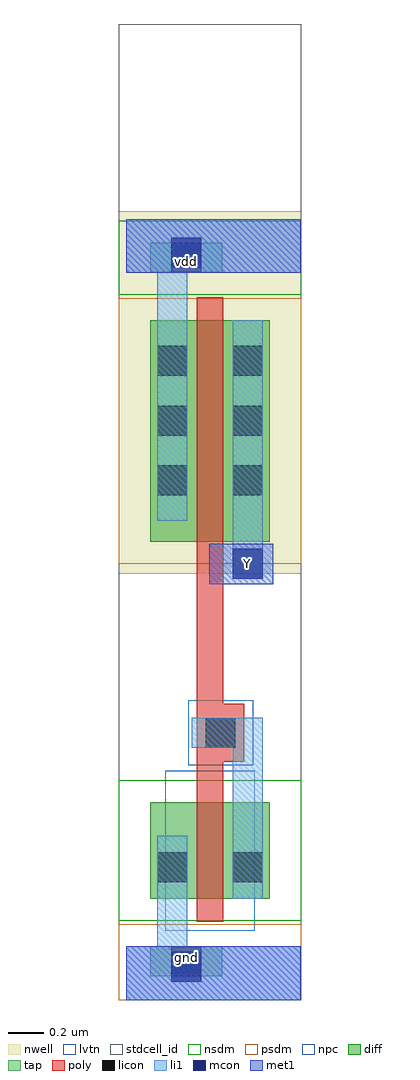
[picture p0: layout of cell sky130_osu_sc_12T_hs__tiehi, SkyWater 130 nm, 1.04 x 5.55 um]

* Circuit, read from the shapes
.subckt sky130_osu_sc_12T_hs__tiehi Y gnd vdd
XM1 n1 n1 gnd gnd sky130_fd_pr__nfet_01v8_lvt w=0.55 l=0.15
XM2 Y n1 vdd vdd sky130_fd_pr__pfet_01v8 w=1.26 l=0.15
.ends

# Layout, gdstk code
import gdstk
lib = gdstk.Library(unit=1e-6, precision=1e-09)
def R(c, l, rs):  # rectangles x0, y0, x1, y1
    for r in rs: c.add(gdstk.rectangle(r[:2], r[2:], *l))
def A(c, l, x, y, w, h, nx, ny, dx, dy):  # array of equal rectangles
    R(c, l, [(x+i*dx, y+j*dy, x+i*dx+w, y+j*dy+h) for i in range(nx) for j in range(ny)])
nwell = (64, 20)
diff = (65, 20)
tap = (65, 44)
poly = (66, 20)
licon = (66, 44)
li1 = (67, 20)
mcon = (67, 44)
met1 = (68, 20)
stdcell_id = (81, 4)
nsdm = (93, 44)
psdm = (94, 20)
npc = (95, 20)
lvtn = (125, 44)

sky130_osu_sc_12t_hs__ti = lib.new_cell('sky130_osu_sc_12T_hs__tiehi')
R(sky130_osu_sc_12t_hs__ti, nwell, [(-0.045,2.425,0.995,4.485)])
R(sky130_osu_sc_12t_hs__ti, diff, [(0.135,0.575,0.815,1.125), (0.135,2.605,0.815,3.865)])
R(sky130_osu_sc_12t_hs__ti, tap, [(0.135,0.135,0.545,0.305), (0.135,4.135,0.545,4.305)])
R(sky130_osu_sc_12t_hs__ti, poly, [(0.4,0.445,0.55,1.355), (0.4,1.355,0.67,1.685), (0.4,1.685,0.55,3.995)])
A(sky130_osu_sc_12t_hs__ti, licon, 0.175, 2.87, 0.17, 0.17, 1, 3, 0, 0.34)
A(sky130_osu_sc_12t_hs__ti, licon, 0.605, 2.87, 0.17, 0.17, 1, 3, 0, 0.34)
R(sky130_osu_sc_12t_hs__ti, licon, [(0.255,0.135,0.425,0.305), (0.175,0.67,0.345,0.84), (0.605,0.67,0.775,0.84), (0.45,1.435,0.62,1.605), (0.255,4.135,0.425,4.305)])
R(sky130_osu_sc_12t_hs__ti, li1, [(0,0,0.99,0.305), (0.175,0.305,0.345,0.935), (0.605,0.575,0.775,1.435), (0.37,1.435,0.775,1.605), (0.605,2.395,0.775,3.865), (0.175,2.725,0.345,4.135), (0,4.135,0.99,4.44)])
R(sky130_osu_sc_12t_hs__ti, mcon, [(0.255,0.105,0.425,0.275), (0.605,2.395,0.775,2.565), (0.255,4.165,0.425,4.335)])
R(sky130_osu_sc_12t_hs__ti, met1, [(0,0,0.99,0.305), (0.47,2.365,0.835,2.595), (0,4.135,0.99,4.44)])
R(sky130_osu_sc_12t_hs__ti, stdcell_id, [(-0.045,0,0.995,5.55)])
R(sky130_osu_sc_12t_hs__ti, nsdm, [(-0.045,0.45,0.995,1.25), (-0.045,4.01,0.995,4.43)])
R(sky130_osu_sc_12t_hs__ti, psdm, [(-0.045,0,0.995,0.43), (-0.045,2.48,0.995,3.99)])
R(sky130_osu_sc_12t_hs__ti, npc, [(0.35,1.335,0.72,1.705)])
R(sky130_osu_sc_12t_hs__ti, lvtn, [(0.22,0.395,0.73,1.305)])
sky130_osu_sc_12t_hs__ti.add(gdstk.Label('gnd', (0.34,0.24), layer=68, texttype=16))
sky130_osu_sc_12t_hs__ti.add(gdstk.Label('vdd', (0.34,4.2), layer=68, texttype=16))
sky130_osu_sc_12t_hs__ti.add(gdstk.Label('Y', (0.69,2.48), layer=68, texttype=5))

lib.write_gds('sky130_osu_sc_12T_hs__tiehi.gds')
